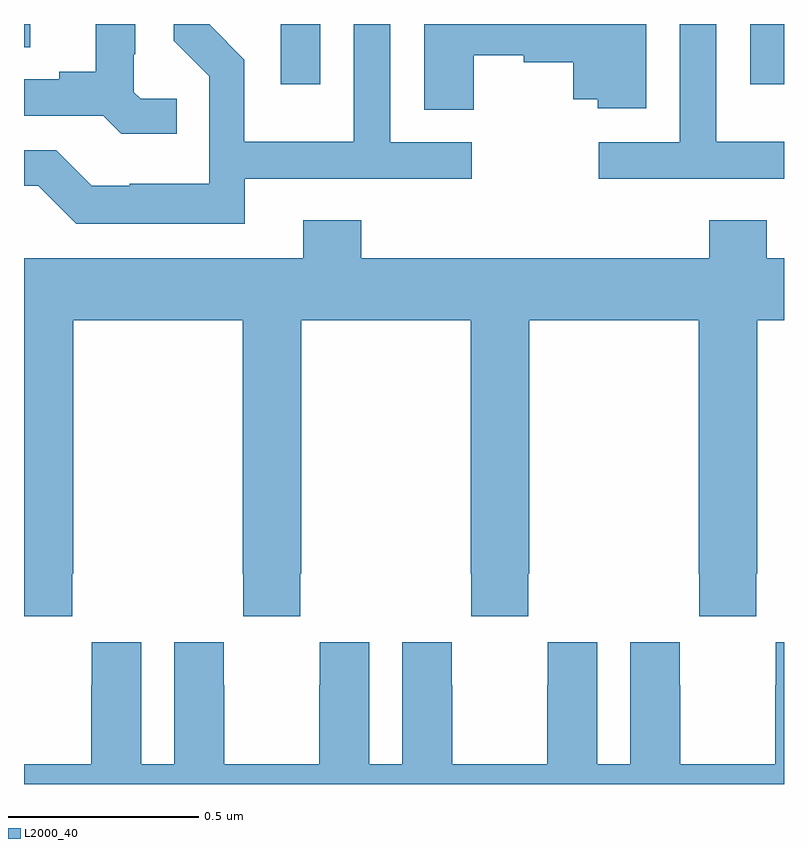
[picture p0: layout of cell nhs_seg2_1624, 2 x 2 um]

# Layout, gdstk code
import gdstk
lib = gdstk.Library(unit=1e-6, precision=1e-09)
def R(c, l, rs):  # rectangles x0, y0, x1, y1
    for r in rs: c.add(gdstk.rectangle(r[:2], r[2:], *l))
def P(c, l, *ps):  # polygons
    for p in ps: c.add(gdstk.Polygon(p, *l))
L2000_40 = (2000, 40)

nhs_seg2_1624 = lib.new_cell('nhs_seg2_1624')
R(nhs_seg2_1624, L2000_40, [(131.675,597.642,131.779,597.8), (132.911,597.642,133,597.8), (131,597.739,131.017,597.8)])
P(nhs_seg2_1624, L2000_40, [(131.581,597.393),(132.178,597.393),(132.178,597.489),(131.964,597.489),(131.964,597.8),(131.868,597.8),(131.868,597.49),(131.58,597.49),(131.58,597.706),(131.489,597.798),(131.489,597.8),(131.394,597.8),(131.394,597.756),(131.487,597.663),(131.487,597.379),(131.278,597.379),(131.278,597.375),(131.178,597.375),(131.085,597.468),(131,597.468),(131,597.375),(131.037,597.375),(131.137,597.275),(131.581,597.275)],
  [(133,597.49),(132.822,597.49),(132.822,597.8),(132.726,597.8),(132.726,597.489),(132.513,597.489),(132.513,597.393),(133,597.393)],
  [(131.402,597.603),(131.307,597.603),(131.289,597.621),(131.289,597.721),(131.293,597.721),(131.293,597.8),(131.189,597.8),(131.189,597.674),(131.093,597.674),(131.093,597.654),(131,597.654),(131,597.558),(131.208,597.558),(131.256,597.511),(131.402,597.511)],
  [(132.184,597.718),(132.315,597.718),(132.315,597.7),(132.446,597.7),(132.446,597.602),(132.51,597.602),(132.51,597.578),(132.637,597.578),(132.637,597.8),(132.053,597.8),(132.053,597.574),(132.184,597.574)],
  [(131,596.241),(131.127,596.241),(131.127,596.353),(131.13,596.353),(131.13,597.02),(131.575,597.02),(131.575,596.353),(131.577,596.353),(131.577,596.241),(131.727,596.241),(131.727,596.353),(131.73,596.353),(131.73,597.02),(132.175,597.02),(132.175,596.353),(132.177,596.353),(132.177,596.241),(132.327,596.241),(132.327,596.353),(132.33,596.353),(132.33,597.02),(132.775,597.02),(132.775,596.353),(132.777,596.353),(132.777,596.241),(132.927,596.241),(132.927,596.353),(132.93,596.353),(132.93,597.02),(133,597.02),(133,597.184),(132.955,597.184),(132.955,597.283),(132.803,597.283),(132.803,597.184),(131.888,597.184),(131.888,597.283),(131.735,597.283),(131.735,597.184),(131,597.184)],
  [(133,596.173),(132.978,596.173),(132.978,596.06),(132.977,596.06),(132.977,595.852),(132.727,595.852),(132.727,596.06),(132.726,596.06),(132.726,596.173),(132.596,596.173),(132.596,595.852),(132.508,595.852),(132.508,596.173),(132.378,596.173),(132.378,596.06),(132.377,596.06),(132.377,595.852),(132.127,595.852),(132.127,596.06),(132.126,596.06),(132.126,596.173),(131.996,596.173),(131.996,595.852),(131.908,595.852),(131.908,596.173),(131.778,596.173),(131.778,596.06),(131.777,596.06),(131.777,595.852),(131.527,595.852),(131.527,596.06),(131.526,596.06),(131.526,596.173),(131.396,596.173),(131.396,595.852),(131.308,595.852),(131.308,596.173),(131.178,596.173),(131.178,596.06),(131.177,596.06),(131.177,595.852),(131,595.852),(131,595.8),(133,595.8)])

lib.write_gds('nhs_seg2_1624.gds')
